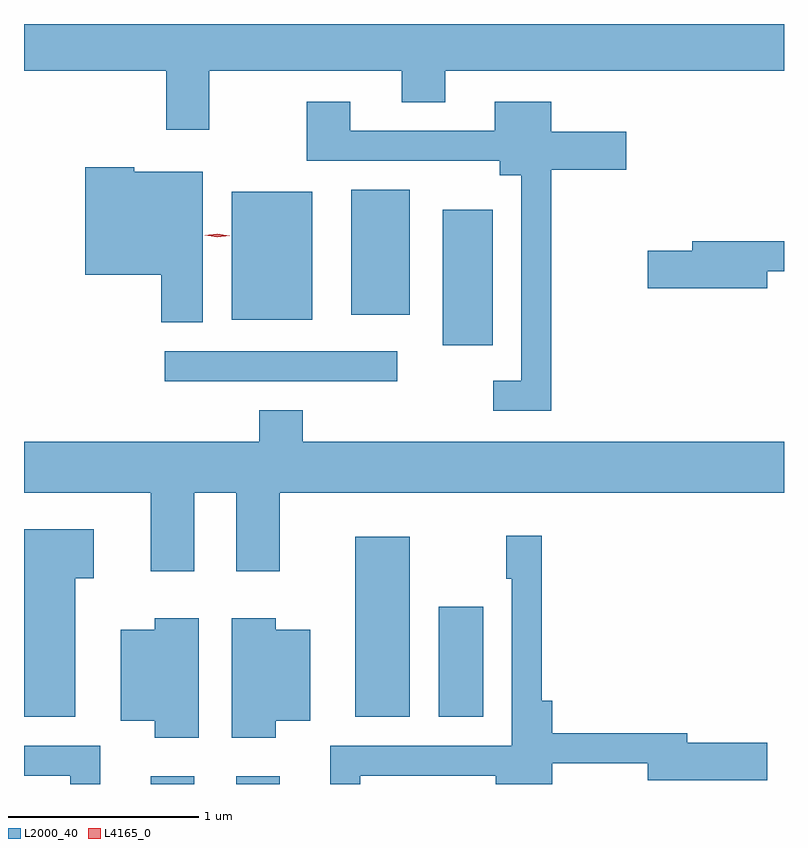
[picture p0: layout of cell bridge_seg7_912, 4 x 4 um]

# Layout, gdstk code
import gdstk
lib = gdstk.Library(unit=1e-6, precision=1e-09)
def R(c, l, rs):  # rectangles x0, y0, x1, y1
    for r in rs: c.add(gdstk.rectangle(r[:2], r[2:], *l))
def P(c, l, *ps):  # polygons
    for p in ps: c.add(gdstk.Polygon(p, *l))
L2000_40 = (2000, 40)
L4165_0 = (4165, 0)

bridge_seg7_912 = lib.new_cell('bridge_seg7_912')
R(bridge_seg7_912, L2000_40, [(520.861,1683.922,521.089,1683.964), (521.311,1683.922,521.539,1683.964), (521.936,1684.276,522.224,1685.224), (522.376,1684.276,522.609,1684.854), (520.933,1686.041,522.158,1686.199), (522.396,1686.231,522.659,1686.944), (521.286,1686.366,521.709,1687.039), (521.916,1686.391,522.224,1687.049)])
P(bridge_seg7_912, L2000_40, [(521.169,1687.676),(522.181,1687.676),(522.181,1687.511),(522.409,1687.511),(522.409,1687.676),(524.193,1687.676),(524.193,1687.922),(520.193,1687.922),(520.193,1687.676),(520.941,1687.676),(520.941,1687.366),(521.169,1687.366)],
  [(522.969,1687.156),(523.364,1687.156),(523.364,1687.354),(522.969,1687.354),(522.969,1687.514),(522.671,1687.514),(522.671,1687.359),(521.909,1687.359),(521.909,1687.514),(521.681,1687.514),(521.681,1687.201),(522.696,1687.201),(522.696,1687.126),(522.811,1687.126),(522.811,1686.044),(522.663,1686.044),(522.663,1685.886),(522.969,1685.886)],
  [(521.134,1687.144),(520.774,1687.144),(520.774,1687.169),(520.516,1687.169),(520.516,1686.601),(520.916,1686.601),(520.916,1686.351),(521.134,1686.351)],
  [(524.104,1686.621),(524.193,1686.621),(524.193,1686.779),(523.711,1686.779),(523.711,1686.729),(523.476,1686.729),(523.476,1686.531),(524.104,1686.531)],
  [(521.089,1685.456),(521.311,1685.456),(521.311,1685.041),(521.539,1685.041),(521.539,1685.456),(524.193,1685.456),(524.193,1685.724),(521.659,1685.724),(521.659,1685.889),(521.431,1685.889),(521.431,1685.724),(520.193,1685.724),(520.193,1685.456),(520.861,1685.456),(520.861,1685.041),(521.089,1685.041)],
  [(520.464,1685.006),(520.559,1685.006),(520.559,1685.264),(520.193,1685.264),(520.193,1684.276),(520.464,1684.276)],
  [(521.964,1683.966),(522.676,1683.966),(522.676,1683.922),(522.974,1683.922),(522.974,1684.031),(523.476,1684.031),(523.476,1683.941),(524.104,1683.941),(524.104,1684.139),(523.684,1684.139),(523.684,1684.189),(522.974,1684.189),(522.974,1684.359),(522.919,1684.359),(522.919,1685.229),(522.731,1685.229),(522.731,1685.001),(522.761,1685.001),(522.761,1684.124),(521.806,1684.124),(521.806,1683.922),(521.964,1683.922)],
  [(521.114,1684.794),(520.881,1684.794),(520.881,1684.734),(520.701,1684.734),(520.701,1684.256),(520.881,1684.256),(520.881,1684.166),(521.114,1684.166)],
  [(521.519,1684.256),(521.699,1684.256),(521.699,1684.734),(521.519,1684.734),(521.519,1684.794),(521.286,1684.794),(521.286,1684.166),(521.519,1684.166)],
  [(520.594,1684.124),(520.193,1684.124),(520.193,1683.966),(520.436,1683.966),(520.436,1683.922),(520.594,1683.922)])
P(bridge_seg7_912, L4165_0, [(521.21,1686.799),(521.144,1686.809),(521.144,1686.809),(521.144,1686.81),(521.21,1686.818),(521.276,1686.808),(521.276,1686.808),(521.276,1686.808)])

lib.write_gds('bridge_seg7_912.gds')
